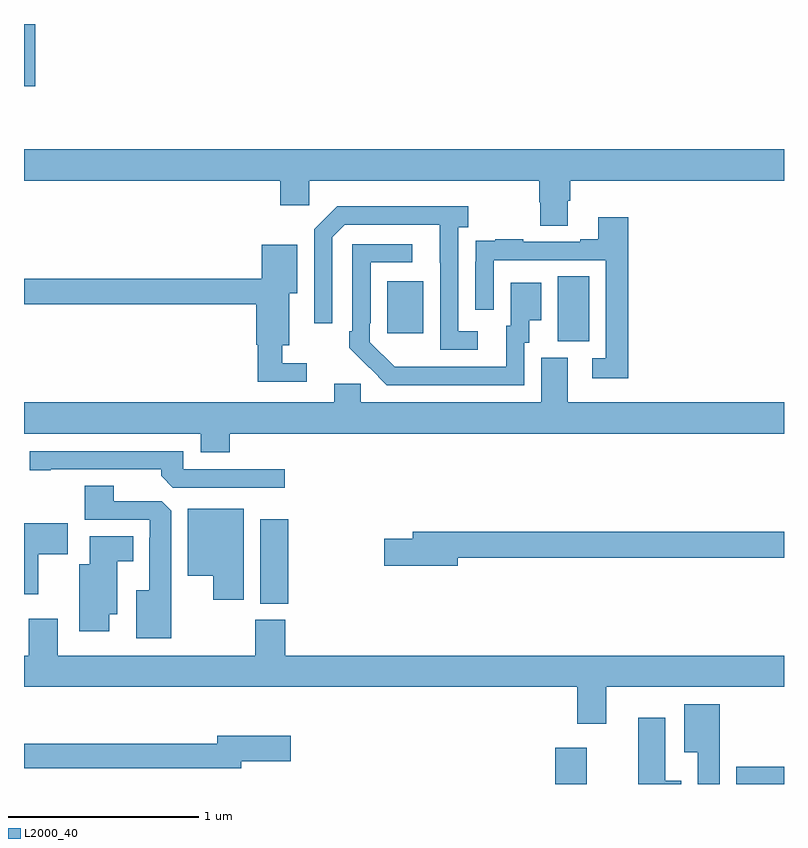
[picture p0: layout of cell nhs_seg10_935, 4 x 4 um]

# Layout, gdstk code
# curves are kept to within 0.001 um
import gdstk
lib = gdstk.Library(unit=1e-6, precision=1e-09)
def R(c, l, rs):  # rectangles x0, y0, x1, y1
    for r in rs: c.add(gdstk.rectangle(r[:2], r[2:], *l))
def P(c, l, *ps):  # polygons
    for p in ps: c.add(gdstk.Polygon(p, *l))
L2000_40 = (2000, 40)

nhs_seg10_935 = lib.new_cell('nhs_seg10_935')
R(nhs_seg10_935, L2000_40, [(161.795,1270.5,161.962,1270.69), (162.749,1270.5,163,1270.591), (160.244,1271.449,160.391,1271.893), (161.81,1272.829,161.974,1273.172), (160.913,1272.873,161.101,1273.147), (159,1274.172,159.059,1274.5)])
P(nhs_seg10_935, L2000_40, [(159,1273.676),(160.349,1273.676),(160.349,1273.545),(160.5,1273.545),(160.5,1273.676),(161.711,1273.676),(161.711,1273.563),(161.716,1273.563),(161.716,1273.438),(161.863,1273.438),(161.863,1273.57),(161.876,1273.57),(161.876,1273.676),(163,1273.676),(163,1273.84),(159,1273.84)],
  [(161.389,1272.882),(161.286,1272.882),(161.286,1273.43),(161.338,1273.43),(161.338,1273.54),(160.648,1273.54),(160.527,1273.419),(160.527,1272.924),(160.623,1272.924),(160.623,1273.377),(160.689,1273.443),(161.189,1273.443),(161.19,1272.786),(161.389,1272.786)],
  [(162.179,1273.483),(162.023,1273.483),(162.023,1273.366),(161.927,1273.366),(161.927,1273.353),(161.627,1273.353),(161.627,1273.366),(161.479,1273.366),(161.479,1273.359),(161.377,1273.359),(161.377,1273.25),(161.376,1273.25),(161.376,1272.996),(161.472,1272.996),(161.472,1273.257),(162.063,1273.257),(162.063,1272.741),(161.991,1272.741),(161.991,1272.636),(162.179,1272.636)],
  [(161.634,1272.822),(161.659,1272.822),(161.659,1272.941),(161.722,1272.941),(161.722,1273.138),(161.561,1273.138),(161.561,1272.912),(161.537,1272.912),(161.537,1272.696),(160.95,1272.697),(160.821,1272.825),(160.821,1272.925),(160.824,1272.925),(160.824,1273.245),(161.044,1273.245),(161.044,1273.341),(160.728,1273.341),(160.728,1272.883),(160.713,1272.883),(160.713,1272.795),(160.91,1272.6),(161.634,1272.6)],
  [(160.489,1272.714),(160.36,1272.714),(160.36,1272.809),(160.396,1272.809),(160.396,1273.082),(160.438,1273.082),(160.438,1273.339),(160.25,1273.339),(160.25,1273.16),(159,1273.16),(159,1273.024),(160.223,1273.024),(160.223,1272.813),(160.231,1272.813),(160.231,1272.618),(160.489,1272.618)],
  [(160.082,1272.344),(163,1272.344),(163,1272.508),(161.863,1272.508),(161.863,1272.744),(161.723,1272.744),(161.723,1272.508),(160.773,1272.508),(160.773,1272.606),(160.634,1272.606),(160.634,1272.508),(159,1272.508),(159,1272.344),(159.929,1272.344),(159.929,1272.245),(160.082,1272.245)],
  [(160.372,1272.156),(159.837,1272.156),(159.837,1272.252),(159.03,1272.252),(159.03,1272.151),(159.142,1272.151),(159.142,1272.156),(159.722,1272.156),(159.722,1272.122),(159.783,1272.06),(160.372,1272.06)],
  [(159.775,1271.939),(159.726,1271.988),(159.472,1271.988),(159.472,1272.071),(159.32,1272.071),(159.32,1271.892),(159.663,1271.892),(159.663,1271.795),(159.659,1271.795),(159.659,1271.521),(159.59,1271.521),(159.59,1271.267),(159.775,1271.267)],
  [(160.156,1271.95),(159.863,1271.95),(159.863,1271.597),(159.995,1271.597),(159.995,1271.469),(160.156,1271.469)],
  [(159.076,1271.71),(159.229,1271.71),(159.229,1271.872),(159,1271.872),(159,1271.499),(159.076,1271.499)],
  [(161.284,1271.692),(163,1271.692),(163,1271.828),(161.045,1271.828),(161.045,1271.792),(160.896,1271.792),(160.896,1271.65),(161.284,1271.65)],
  [(159.448,1271.393),(159.49,1271.393),(159.49,1271.672),(159.574,1271.672),(159.574,1271.803),(159.347,1271.803),(159.347,1271.656),(159.29,1271.656),(159.29,1271.304),(159.448,1271.304)],
  [(162.064,1271.012),(163,1271.012),(163,1271.176),(160.376,1271.176),(160.376,1271.364),(160.216,1271.364),(160.216,1271.176),(159.178,1271.176),(159.178,1271.371),(159.026,1271.371),(159.026,1271.176),(159,1271.176),(159,1271.012),(161.912,1271.012),(161.912,1270.818),(162.064,1270.818)],
  [(162.661,1270.921),(162.476,1270.921),(162.476,1270.667),(162.545,1270.667),(162.545,1270.5),(162.661,1270.5)],
  [(162.46,1270.516),(162.376,1270.516),(162.376,1270.849),(162.233,1270.849),(162.233,1270.5),(162.46,1270.5)],
  [(160.144,1270.619),(160.405,1270.619),(160.405,1270.753),(160.016,1270.753),(160.016,1270.711),(159,1270.711),(159,1270.582),(160.144,1270.582)])

lib.write_gds('nhs_seg10_935.gds')
